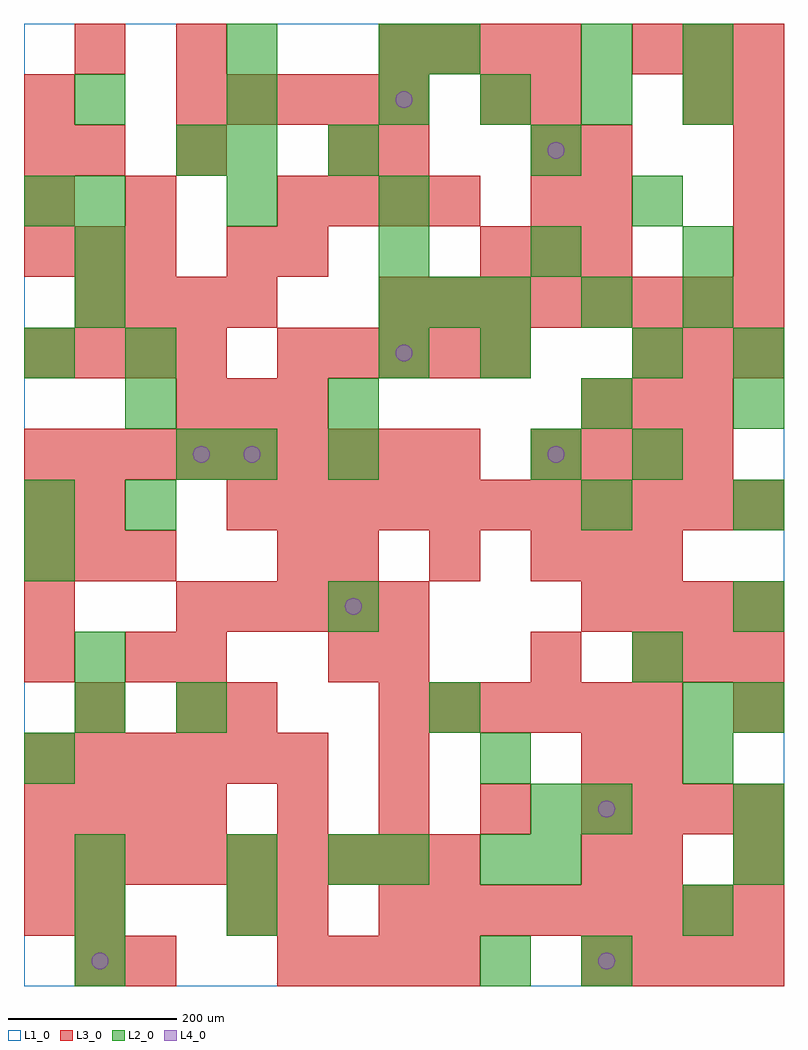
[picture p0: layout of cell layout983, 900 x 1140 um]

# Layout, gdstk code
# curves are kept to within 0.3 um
import gdstk
lib = gdstk.Library(unit=1e-6, precision=1e-09)
def R(c, l, rs):  # rectangles x0, y0, x1, y1
    for r in rs: c.add(gdstk.rectangle(r[:2], r[2:], *l))
def A(c, l, x, y, w, h, nx, ny, dx, dy):  # array of equal rectangles
    R(c, l, [(x+i*dx, y+j*dy, x+i*dx+w, y+j*dy+h) for i in range(nx) for j in range(ny)])
def P(c, l, *ps):  # polygons
    for p in ps: c.add(gdstk.Polygon(p, *l))
L1_0 = (1, 0)
L2_0 = (2, 0)
L3_0 = (3, 0)
L4_0 = (4, 0)

layout983 = lib.new_cell('layout983')
R(layout983, L1_0, [(0,0,900,1140)])
A(layout983, L2_0, 60, 0, 60, 60, 1, 3, 0, 60)
A(layout983, L2_0, 540, 0, 60, 60, 1, 3, 0, 120)
A(layout983, L2_0, 840, 180, 60, 60, 1, 5, 0, 120)
A(layout983, L2_0, 180, 300, 60, 60, 3, 1, 300, 0)
A(layout983, L2_0, 0, 540, 60, 60, 1, 3, 0, 180)
A(layout983, L2_0, 660, 540, 60, 60, 1, 3, 0, 120)
A(layout983, L2_0, 420, 780, 60, 60, 3, 1, 60, 0)
A(layout983, L2_0, 420, 840, 60, 60, 3, 1, 180, 0)
A(layout983, L2_0, 60, 900, 60, 60, 3, 2, 180, 120)
A(layout983, L2_0, 540, 1020, 60, 60, 3, 1, 120, 0)
R(layout983, L2_0, [(660,0,720,60), (240,60,300,120), (780,60,840,120), (240,120,300,180), (360,120,420,180), (420,120,480,180), (600,120,660,180), (840,120,900,180), (600,180,660,240), (660,180,720,240), (0,240,60,300), (780,240,840,300), (60,300,120,360), (60,360,120,420), (720,360,780,420), (360,420,420,480), (0,480,60,540), (120,540,180,600), (180,600,240,660), (240,600,300,660), (360,600,420,660), (600,600,660,660), (720,600,780,660), (120,660,180,720), (360,660,420,720), (120,720,180,780), (420,720,480,780), (540,720,600,780), (720,720,780,780), (840,720,900,780), (60,780,120,840), (780,780,840,840), (60,840,120,900), (720,900,780,960), (180,960,240,1020), (240,960,300,1020), (360,960,420,1020), (600,960,660,1020), (240,1080,300,1140), (420,1080,480,1140), (480,1080,540,1140), (660,1080,720,1140), (780,1080,840,1140)])
A(layout983, L3_0, 300, 0, 60, 60, 4, 2, 60, 900)
A(layout983, L3_0, 660, 0, 60, 60, 4, 2, 60, 420)
A(layout983, L3_0, 60, 60, 60, 60, 1, 3, 0, 240)
A(layout983, L3_0, 420, 60, 60, 60, 8, 2, 60, 720)
A(layout983, L3_0, 0, 120, 60, 60, 9, 2, 60, 480)
A(layout983, L3_0, 0, 180, 60, 60, 4, 2, 60, 540)
A(layout983, L3_0, 300, 180, 60, 60, 4, 1, 120, 0)
A(layout983, L3_0, 720, 180, 60, 60, 3, 2, 60, 180)
A(layout983, L3_0, 0, 240, 60, 60, 6, 1, 60, 0)
A(layout983, L3_0, 420, 300, 60, 60, 6, 1, 60, 0)
A(layout983, L3_0, 180, 420, 60, 60, 5, 2, 60, 600)
A(layout983, L3_0, 0, 480, 60, 60, 3, 2, 60, 360)
A(layout983, L3_0, 360, 480, 60, 60, 3, 1, 120, 0)
A(layout983, L3_0, 240, 540, 60, 60, 11, 1, 60, 0)
A(layout983, L3_0, 600, 600, 60, 60, 4, 1, 60, 0)
A(layout983, L3_0, 180, 660, 60, 60, 3, 1, 60, 0)
A(layout983, L3_0, 660, 660, 60, 60, 3, 1, 60, 0)
A(layout983, L3_0, 300, 720, 60, 60, 5, 1, 60, 0)
A(layout983, L3_0, 720, 720, 60, 60, 3, 2, 60, 360)
A(layout983, L3_0, 60, 780, 60, 60, 4, 1, 60, 0)
A(layout983, L3_0, 540, 840, 60, 60, 3, 1, 60, 0)
A(layout983, L3_0, 840, 840, 60, 60, 1, 4, 0, 60)
A(layout983, L3_0, 0, 900, 60, 60, 1, 3, 0, 60)
A(layout983, L3_0, 600, 900, 60, 60, 1, 3, 0, 60)
A(layout983, L3_0, 420, 1080, 60, 60, 4, 1, 60, 0)
R(layout983, L3_0, [(60,0,120,60), (120,0,180,60), (0,60,60,120), (240,60,300,120), (300,60,360,120), (660,120,720,180), (720,120,780,180), (840,120,900,180), (420,240,480,300), (660,240,720,300), (720,240,780,300), (180,300,240,360), (240,300,300,360), (840,300,900,360), (0,360,60,420), (120,360,180,420), (180,360,240,420), (360,360,420,420), (420,360,480,420), (600,360,660,420), (0,420,60,480), (300,480,360,540), (660,480,720,540), (720,480,780,540), (0,540,60,600), (240,840,300,900), (300,840,360,900), (120,900,180,960), (660,900,720,960), (60,960,120,1020), (180,960,240,1020), (360,960,420,1020), (420,960,480,1020), (660,960,720,1020), (540,1020,600,1080), (780,1020,840,1080), (60,1080,120,1140), (180,1080,240,1140)])
P(layout983, L4_0, [(100,30),(99.239,33.827),(97.071,37.071),(93.827,39.239),(90,40),(86.173,39.239),(82.929,37.071),(80.761,33.827),(80,30),(80.761,26.173),(82.929,22.929),(86.173,20.761),(90,20),(93.827,20.761),(97.071,22.929),(99.239,26.173)],
  [(220,630),(219.239,633.827),(217.071,637.071),(213.827,639.239),(210,640),(206.173,639.239),(202.929,637.071),(200.761,633.827),(200,630),(200.761,626.173),(202.929,622.929),(206.173,620.761),(210,620),(213.827,620.761),(217.071,622.929),(219.239,626.173)],
  [(280,630),(279.239,633.827),(277.071,637.071),(273.827,639.239),(270,640),(266.173,639.239),(262.929,637.071),(260.761,633.827),(260,630),(260.761,626.173),(262.929,622.929),(266.173,620.761),(270,620),(273.827,620.761),(277.071,622.929),(279.239,626.173)],
  [(400,450),(399.239,453.827),(397.071,457.071),(393.827,459.239),(390,460),(386.173,459.239),(382.929,457.071),(380.761,453.827),(380,450),(380.761,446.173),(382.929,442.929),(386.173,440.761),(390,440),(393.827,440.761),(397.071,442.929),(399.239,446.173)],
  [(460,750),(459.239,753.827),(457.071,757.071),(453.827,759.239),(450,760),(446.173,759.239),(442.929,757.071),(440.761,753.827),(440,750),(440.761,746.173),(442.929,742.929),(446.173,740.761),(450,740),(453.827,740.761),(457.071,742.929),(459.239,746.173)],
  [(460,1050),(459.239,1053.827),(457.071,1057.071),(453.827,1059.239),(450,1060),(446.173,1059.239),(442.929,1057.071),(440.761,1053.827),(440,1050),(440.761,1046.173),(442.929,1042.929),(446.173,1040.761),(450,1040),(453.827,1040.761),(457.071,1042.929),(459.239,1046.173)],
  [(640,630),(639.239,633.827),(637.071,637.071),(633.827,639.239),(630,640),(626.173,639.239),(622.929,637.071),(620.761,633.827),(620,630),(620.761,626.173),(622.929,622.929),(626.173,620.761),(630,620),(633.827,620.761),(637.071,622.929),(639.239,626.173)],
  [(640,990),(639.239,993.827),(637.071,997.071),(633.827,999.239),(630,1000),(626.173,999.239),(622.929,997.071),(620.761,993.827),(620,990),(620.761,986.173),(622.929,982.929),(626.173,980.761),(630,980),(633.827,980.761),(637.071,982.929),(639.239,986.173)],
  [(700,30),(699.239,33.827),(697.071,37.071),(693.827,39.239),(690,40),(686.173,39.239),(682.929,37.071),(680.761,33.827),(680,30),(680.761,26.173),(682.929,22.929),(686.173,20.761),(690,20),(693.827,20.761),(697.071,22.929),(699.239,26.173)],
  [(700,210),(699.239,213.827),(697.071,217.071),(693.827,219.239),(690,220),(686.173,219.239),(682.929,217.071),(680.761,213.827),(680,210),(680.761,206.173),(682.929,202.929),(686.173,200.761),(690,200),(693.827,200.761),(697.071,202.929),(699.239,206.173)])

lib.write_gds('layout983.gds')
